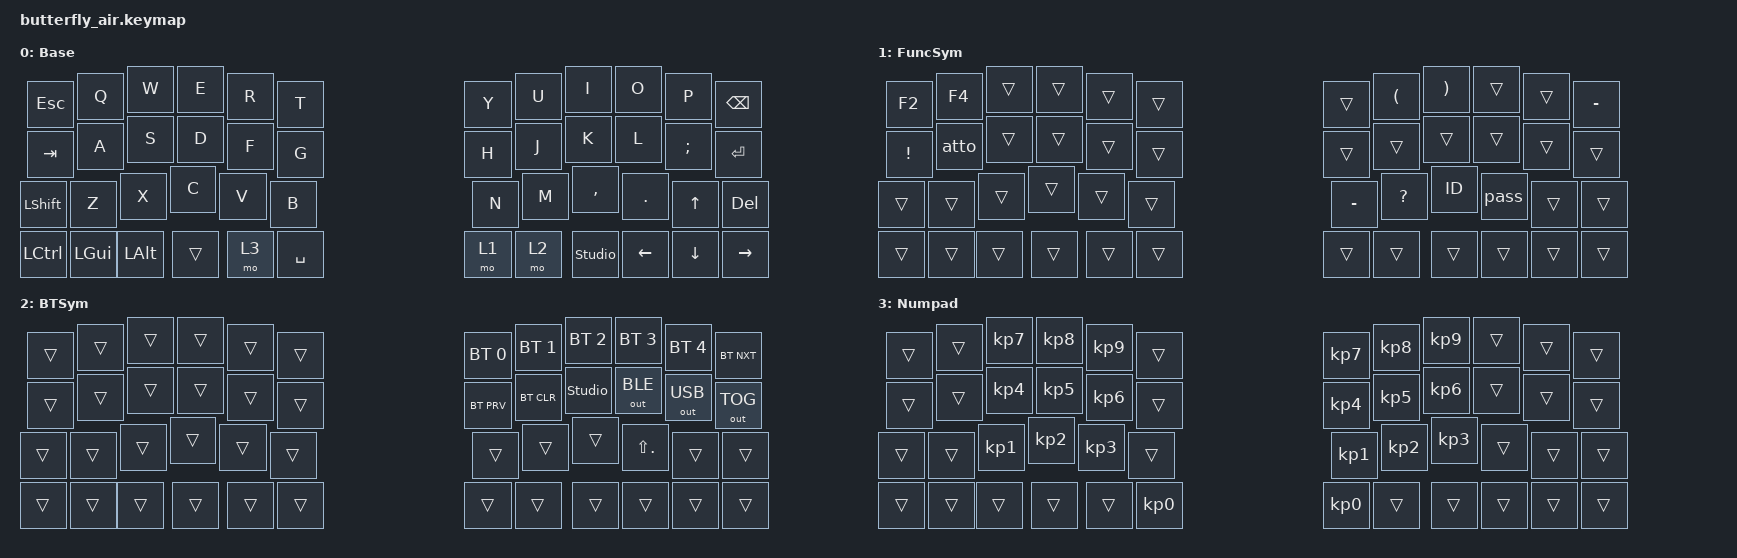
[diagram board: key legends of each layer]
/*
 * Butterfly Air - 48 key keymap
 *
 * Logical layout:
 *   4 rows x 12 columns = 48 positions
 *
 * Layer 0: Base Layer
 * Layer 1: Function & Symbol Layer
 * Layer 2: Bluetooth / Symbol Layer
 * Layer 3: Numpad Layer
 *
 * Physical blind-cap positions:
 *   Row 4 / Column 4 -> &trans
 *   Row 4 / Column 9 -> &trans
 *
 * These positions are physically wired but intentionally unused.
 */
/*
 * Butterfly Air - 48 key keymap (Safe Build Version)
 */

#include <behaviors.dtsi>
#include <dt-bindings/zmk/bt.h>
#include <dt-bindings/zmk/keys.h>
#include <dt-bindings/zmk/outputs.h>

/ {
    macros {
        ID: ID {
            compatible = "zmk,behavior-macro";
            #binding-cells = <0>;
            bindings = <&none &kp S &kp T &kp E &kp C &kp N0 &kp N7 &kp N6 &kp N4>;
            label = "ID";
        };

        pass: pass {
            compatible = "zmk,behavior-macro";
            #binding-cells = <0>;
            bindings = <&none &kp LS(N) &kp O &kp T &kp E &kp S &kp MINUS &kp N8 &kp N2 &kp N2 &kp N1>;
            label = "PASS";
        };

        atto: atto {
            compatible = "zmk,behavior-macro";
            #binding-cells = <0>;
            bindings = <&none &kp AT>;
            label = "ATTO";
        };
    };

    keymap {
        compatible = "zmk,keymap";

        default_layer {
            display-name = "Base";
            bindings = <
&kp ESC    &kp Q     &kp W     &kp E   &kp R  &kp T      &kp Y  &kp U  &kp I           &kp O     &kp P     &kp BSPC
&kp TAB    &kp A     &kp S     &kp D   &kp F  &kp G      &kp H  &kp J  &kp K           &kp L     &kp SEMI  &kp RET
&kp LSHFT  &kp Z     &kp X     &kp C   &kp V  &kp B      &kp N  &kp M  &kp COMMA       &kp DOT   &kp UP    &kp DEL
&kp LCTRL  &kp LGUI  &kp LALT  &trans  &mo 3  &kp SPACE  &mo 1  &mo 2  &studio_unlock  &kp LEFT  &kp DOWN  &kp RIGHT
            >;
        };

        layer_1 {
            display-name = "FuncSym";
            bindings = <
&kp F2    &kp F4  &trans  &trans  &trans  &trans  &trans     &kp LEFT_PARENTHESIS  &kp RIGHT_PARENTHESIS  &trans  &trans  &kp MINUS
&kp EXCL  &atto   &trans  &trans  &trans  &trans  &trans     &trans                &trans                 &trans  &trans  &trans
&trans    &trans  &trans  &trans  &trans  &trans  &kp MINUS  &kp QMARK             &ID                    &pass   &trans  &trans
&trans    &trans  &trans  &trans  &trans  &trans  &trans     &trans                &trans                 &trans  &trans  &trans
            >;
        };

        layer_2 {
            display-name = "BTSym";
            bindings = <
&trans  &trans  &trans  &trans  &trans  &trans  &bt BT_SEL 0  &bt BT_SEL 1  &bt BT_SEL 2    &bt BT_SEL 3  &bt BT_SEL 4  &bt BT_NXT
&trans  &trans  &trans  &trans  &trans  &trans  &bt BT_PRV    &bt BT_CLR    &studio_unlock  &out OUT_BLE  &out OUT_USB  &out OUT_TOG
&trans  &trans  &trans  &trans  &trans  &trans  &trans        &trans        &trans          &kp LS(DOT)   &trans        &trans
&trans  &trans  &trans  &trans  &trans  &trans  &trans        &trans        &trans          &trans        &trans        &trans
            >;
        };

        layer_3 {
            display-name = "Numpad";
            bindings = <
&trans  &trans  &kp KP_N7  &kp KP_N8  &kp KP_N9  &trans     &kp KP_NUMBER_7  &kp KP_NUMBER_8  &kp KP_NUMBER_9  &trans  &trans  &trans
&trans  &trans  &kp KP_N4  &kp KP_N5  &kp KP_N6  &trans     &kp KP_NUMBER_4  &kp KP_NUMBER_5  &kp KP_NUMBER_6  &trans  &trans  &trans
&trans  &trans  &kp KP_N1  &kp KP_N2  &kp KP_N3  &trans     &kp KP_NUMBER_1  &kp KP_NUMBER_2  &kp KP_NUMBER_3  &trans  &trans  &trans
&trans  &trans  &trans     &trans     &trans     &kp KP_N0  &kp KP_NUMBER_0  &trans           &trans           &trans  &trans  &trans
            >;
        };
    };
};
